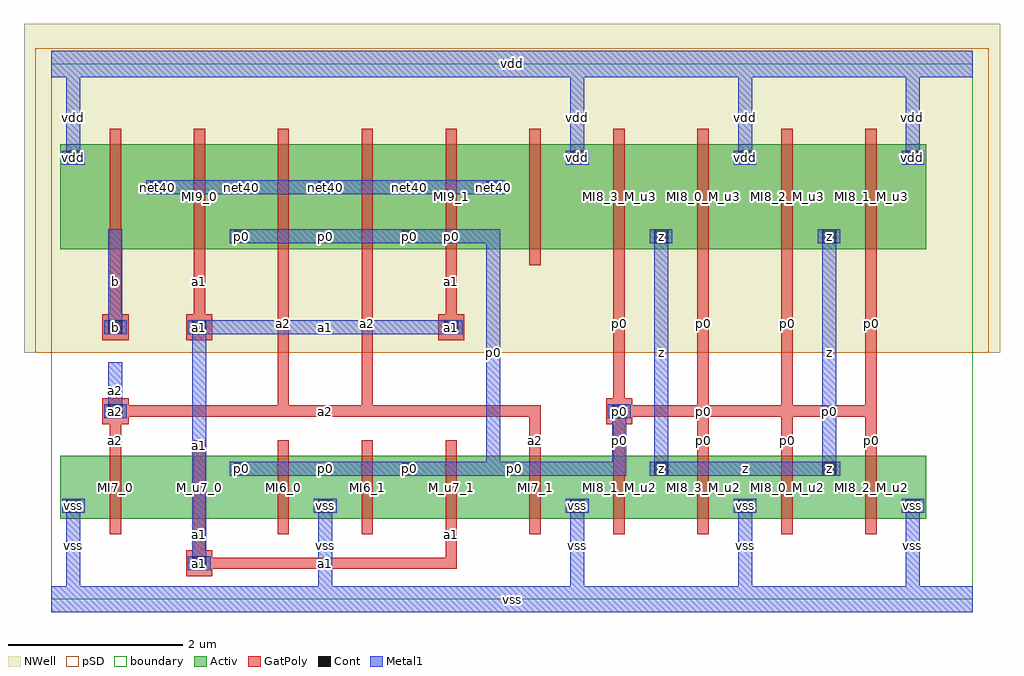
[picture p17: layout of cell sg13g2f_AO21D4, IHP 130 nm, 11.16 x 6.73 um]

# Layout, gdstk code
import gdstk
lib = gdstk.Library(unit=1e-6, precision=1e-09)
def R(c, l, rs):  # rectangles x0, y0, x1, y1
    for r in rs: c.add(gdstk.rectangle(r[:2], r[2:], *l))
def A(c, l, x, y, w, h, nx, ny, dx, dy):  # array of equal rectangles
    R(c, l, [(x+i*dx, y+j*dy, x+i*dx+w, y+j*dy+h) for i in range(nx) for j in range(ny)])
Activ = (1, 0)
GatPoly = (5, 0)
Cont = (6, 0)
Metal1 = (8, 0)
pSD = (14, 0)
NWell = (31, 0)
TEXT = (63, 0)
boundary = (189, 4)

sg13g2f_ao21d4 = lib.new_cell('sg13g2f_AO21D4')
A(sg13g2f_ao21d4, Activ, 0.105, 0.92, 1.26, 0.72, 10, 1, 0.96, 0)
A(sg13g2f_ao21d4, Activ, 0.105, 0.92, 0.3, 0.3, 3, 1, 2.88, 0)
A(sg13g2f_ao21d4, Activ, 0.105, 4, 1.26, 1.2, 10, 1, 0.96, 0)
A(sg13g2f_ao21d4, Activ, 1.065, 4.56, 0.3, 0.3, 3, 1, 1.92, 0)
A(sg13g2f_ao21d4, Activ, 5.865, 4.9, 0.3, 0.3, 3, 1, 1.92, 0)
R(sg13g2f_ao21d4, Activ, [(7.785,0.92,8.085,1.22), (9.705,0.92,10.005,1.22), (2.025,1.34,2.325,1.64), (3.945,1.34,4.245,1.64), (6.825,1.34,7.125,1.64), (8.745,1.34,9.045,1.64), (2.025,4,2.325,4.3), (3.945,4,4.245,4.3), (6.825,4,7.125,4.3), (8.745,4,9.045,4.3), (0.105,4.9,0.405,5.2)])
A(sg13g2f_ao21d4, GatPoly, 0.67, 0.74, 0.13, 1.08, 10, 1, 0.96, 0)
A(sg13g2f_ao21d4, GatPoly, 5.47, 1.425, 0.13, 0.79, 5, 1, 0.96, 0)
A(sg13g2f_ao21d4, GatPoly, 6.43, 2.085, 0.13, 2.13, 4, 1, 0.96, 0)
A(sg13g2f_ao21d4, GatPoly, 0.67, 3.82, 0.13, 1.56, 10, 1, 0.96, 0)
R(sg13g2f_ao21d4, GatPoly, [(1.545,0.26,1.845,0.56), (1.63,0.345,1.76,1.135), (1.63,0.345,4.64,0.475), (4.51,0.345,4.64,1.135), (0.67,1.425,0.8,2.215), (0.585,2,0.885,2.3), (6.345,2,6.645,2.3), (0.67,2.085,5.6,2.215), (2.59,2.085,2.72,4.215), (3.55,2.085,3.68,4.215), (6.43,2.085,8.48,2.215), (8.35,2.085,9.44,2.215), (0.585,2.96,0.885,3.26), (1.545,2.96,1.845,3.26), (4.425,2.96,4.725,3.26), (0.67,3.045,0.8,4.215), (1.63,3.045,1.76,4.215), (4.51,3.045,4.64,4.215)])
A(sg13g2f_ao21d4, Cont, 0.175, 0.99, 0.16, 0.16, 3, 1, 2.88, 0)
A(sg13g2f_ao21d4, Cont, 1.135, 4.63, 0.16, 0.16, 3, 1, 1.92, 0)
A(sg13g2f_ao21d4, Cont, 5.935, 4.97, 0.16, 0.16, 3, 1, 1.92, 0)
R(sg13g2f_ao21d4, Cont, [(1.615,0.33,1.775,0.49), (7.855,0.99,8.015,1.15), (9.775,0.99,9.935,1.15), (2.095,1.41,2.255,1.57), (4.015,1.41,4.175,1.57), (6.895,1.41,7.055,1.57), (8.815,1.41,8.975,1.57), (0.655,2.07,0.815,2.23), (6.415,2.07,6.575,2.23), (0.655,3.03,0.815,3.19), (1.615,3.03,1.775,3.19), (4.495,3.03,4.655,3.19), (2.095,4.07,2.255,4.23), (4.015,4.07,4.175,4.23), (6.895,4.07,7.055,4.23), (8.815,4.07,8.975,4.23), (0.175,4.97,0.335,5.13)])
A(sg13g2f_ao21d4, Metal1, 0.175, 0.07, 0.16, 1.08, 3, 1, 2.88, 0)
A(sg13g2f_ao21d4, Metal1, 0.125, 0.99, 0.26, 0.16, 3, 1, 2.88, 0)
A(sg13g2f_ao21d4, Metal1, 4.975, 1.41, 0.16, 2.82, 3, 1, 1.92, 0)
A(sg13g2f_ao21d4, Metal1, 1.085, 4.63, 0.26, 0.16, 3, 1, 1.92, 0)
A(sg13g2f_ao21d4, Metal1, 5.885, 4.97, 0.26, 0.16, 3, 1, 1.92, 0)
A(sg13g2f_ao21d4, Metal1, 5.935, 4.97, 0.16, 1.08, 3, 1, 1.92, 0)
R(sg13g2f_ao21d4, Metal1, [(0,-0.15,10.54,0.15), (7.855,0.07,8.015,1.15), (9.775,0.07,9.935,1.15), (1.565,0.33,1.825,0.49), (1.615,0.33,1.775,3.19), (7.805,0.99,8.065,1.15), (9.725,0.99,9.985,1.15), (2.045,1.41,2.305,1.57), (2.095,1.41,4.175,1.57), (3.965,1.41,4.225,1.57), (4.015,1.41,6.575,1.57), (6.415,1.41,6.575,2.23), (6.845,1.41,7.105,1.57), (6.895,1.41,8.975,1.57), (8.765,1.41,9.025,1.57), (0.605,2.07,0.865,2.23), (0.655,2.07,0.815,2.71), (6.365,2.07,6.625,2.23), (0.605,3.03,0.865,3.19), (0.655,3.03,0.815,4.23), (1.565,3.03,1.825,3.19), (1.615,3.03,4.655,3.19), (4.445,3.03,4.705,3.19), (2.045,4.07,2.305,4.23), (2.095,4.07,4.175,4.23), (3.965,4.07,4.225,4.23), (4.015,4.07,5.135,4.23), (6.845,4.07,7.105,4.23), (8.765,4.07,9.025,4.23), (1.135,4.63,3.215,4.79), (3.055,4.63,5.135,4.79), (0.125,4.97,0.385,5.13), (0.175,4.97,0.335,6.05), (0,5.97,10.54,6.27)])
R(sg13g2f_ao21d4, pSD, [(-0.18,2.82,10.72,5.94), (-0.18,5.94,10.72,6.3)])
R(sg13g2f_ao21d4, NWell, [(-0.31,2.82,10.85,6.58)])
R(sg13g2f_ao21d4, boundary, [(0,0,10.54,6.12)])
sg13g2f_ao21d4.add(gdstk.FlexPath([(0.105,0.41),(10.005,0.41)], 0, ends="flush", simple_path=True, layer=63, datatype=0))  # TEXT
sg13g2f_ao21d4.add(gdstk.FlexPath([(0.105,1.07),(10.005,1.07)], 0, ends="flush", simple_path=True, layer=63, datatype=0))  # TEXT
sg13g2f_ao21d4.add(gdstk.FlexPath([(0.105,1.49),(10.005,1.49)], 0, ends="flush", simple_path=True, layer=63, datatype=0))  # TEXT
sg13g2f_ao21d4.add(gdstk.FlexPath([(0.105,2.15),(10.005,2.15)], 0, ends="flush", simple_path=True, layer=63, datatype=0))  # TEXT
sg13g2f_ao21d4.add(gdstk.FlexPath([(0.105,2.63),(10.005,2.63)], 0, ends="flush", simple_path=True, layer=63, datatype=0))  # TEXT
sg13g2f_ao21d4.add(gdstk.FlexPath([(0.105,3.11),(10.005,3.11)], 0, ends="flush", simple_path=True, layer=63, datatype=0))  # TEXT
sg13g2f_ao21d4.add(gdstk.FlexPath([(0.105,4.15),(10.005,4.15)], 0, ends="flush", simple_path=True, layer=63, datatype=0))  # TEXT
sg13g2f_ao21d4.add(gdstk.FlexPath([(0.105,4.71),(10.005,4.71)], 0, ends="flush", simple_path=True, layer=63, datatype=0))  # TEXT
sg13g2f_ao21d4.add(gdstk.FlexPath([(0.105,5.05),(10.005,5.05)], 0, ends="flush", simple_path=True, layer=63, datatype=0))  # TEXT
sg13g2f_ao21d4.add(gdstk.FlexPath([(0.105,5.71),(10.005,5.71)], 0, ends="flush", simple_path=True, layer=63, datatype=0))  # TEXT
sg13g2f_ao21d4.add(gdstk.FlexPath([(0.255,0.07),(0.255,6.05)], 0, ends="flush", simple_path=True, layer=63, datatype=0))  # TEXT
sg13g2f_ao21d4.add(gdstk.FlexPath([(0.735,0.07),(0.735,6.05)], 0, ends="flush", simple_path=True, layer=63, datatype=0))  # TEXT
sg13g2f_ao21d4.add(gdstk.FlexPath([(1.215,0.07),(1.215,6.05)], 0, ends="flush", simple_path=True, layer=63, datatype=0))  # TEXT
sg13g2f_ao21d4.add(gdstk.FlexPath([(1.695,0.07),(1.695,6.05)], 0, ends="flush", simple_path=True, layer=63, datatype=0))  # TEXT
sg13g2f_ao21d4.add(gdstk.FlexPath([(2.175,0.07),(2.175,6.05)], 0, ends="flush", simple_path=True, layer=63, datatype=0))  # TEXT
sg13g2f_ao21d4.add(gdstk.FlexPath([(2.655,0.07),(2.655,6.05)], 0, ends="flush", simple_path=True, layer=63, datatype=0))  # TEXT
sg13g2f_ao21d4.add(gdstk.FlexPath([(3.135,0.07),(3.135,6.05)], 0, ends="flush", simple_path=True, layer=63, datatype=0))  # TEXT
sg13g2f_ao21d4.add(gdstk.FlexPath([(3.615,0.07),(3.615,6.05)], 0, ends="flush", simple_path=True, layer=63, datatype=0))  # TEXT
sg13g2f_ao21d4.add(gdstk.FlexPath([(4.095,0.07),(4.095,6.05)], 0, ends="flush", simple_path=True, layer=63, datatype=0))  # TEXT
sg13g2f_ao21d4.add(gdstk.FlexPath([(4.575,0.07),(4.575,6.05)], 0, ends="flush", simple_path=True, layer=63, datatype=0))  # TEXT
sg13g2f_ao21d4.add(gdstk.FlexPath([(5.055,0.07),(5.055,6.05)], 0, ends="flush", simple_path=True, layer=63, datatype=0))  # TEXT
sg13g2f_ao21d4.add(gdstk.FlexPath([(5.535,0.07),(5.535,6.05)], 0, ends="flush", simple_path=True, layer=63, datatype=0))  # TEXT
sg13g2f_ao21d4.add(gdstk.FlexPath([(6.015,0.07),(6.015,6.05)], 0, ends="flush", simple_path=True, layer=63, datatype=0))  # TEXT
sg13g2f_ao21d4.add(gdstk.FlexPath([(6.495,0.07),(6.495,6.05)], 0, ends="flush", simple_path=True, layer=63, datatype=0))  # TEXT
sg13g2f_ao21d4.add(gdstk.FlexPath([(6.975,0.07),(6.975,6.05)], 0, ends="flush", simple_path=True, layer=63, datatype=0))  # TEXT
sg13g2f_ao21d4.add(gdstk.FlexPath([(7.455,0.07),(7.455,6.05)], 0, ends="flush", simple_path=True, layer=63, datatype=0))  # TEXT
sg13g2f_ao21d4.add(gdstk.FlexPath([(7.935,0.07),(7.935,6.05)], 0, ends="flush", simple_path=True, layer=63, datatype=0))  # TEXT
sg13g2f_ao21d4.add(gdstk.FlexPath([(8.415,0.07),(8.415,6.05)], 0, ends="flush", simple_path=True, layer=63, datatype=0))  # TEXT
sg13g2f_ao21d4.add(gdstk.FlexPath([(8.895,0.07),(8.895,6.05)], 0, ends="flush", simple_path=True, layer=63, datatype=0))  # TEXT
sg13g2f_ao21d4.add(gdstk.FlexPath([(9.375,0.07),(9.375,6.05)], 0, ends="flush", simple_path=True, layer=63, datatype=0))  # TEXT
sg13g2f_ao21d4.add(gdstk.FlexPath([(9.855,0.07),(9.855,6.05)], 0, ends="flush", simple_path=True, layer=63, datatype=0))  # TEXT
sg13g2f_ao21d4.add(gdstk.Label('a2', (0.735,2.15), layer=6, texttype=0))
sg13g2f_ao21d4.add(gdstk.Label('p0', (2.175,1.49), layer=6, texttype=0))
sg13g2f_ao21d4.add(gdstk.Label('p0', (4.095,1.49), layer=6, texttype=0))
sg13g2f_ao21d4.add(gdstk.Label('p0', (4.095,4.15), layer=6, texttype=0))
sg13g2f_ao21d4.add(gdstk.Label('p0', (2.175,4.15), layer=6, texttype=0))
sg13g2f_ao21d4.add(gdstk.Label('p0', (6.495,2.15), layer=6, texttype=0))
sg13g2f_ao21d4.add(gdstk.Label('a1', (1.695,0.41), layer=6, texttype=0))
sg13g2f_ao21d4.add(gdstk.Label('a1', (1.695,3.11), layer=6, texttype=0))
sg13g2f_ao21d4.add(gdstk.Label('a1', (4.575,3.11), layer=6, texttype=0))
sg13g2f_ao21d4.add(gdstk.Label('b', (0.735,3.11), layer=6, texttype=0))
sg13g2f_ao21d4.add(gdstk.Label('z', (8.895,1.49), layer=6, texttype=0))
sg13g2f_ao21d4.add(gdstk.Label('z', (6.975,1.49), layer=6, texttype=0))
sg13g2f_ao21d4.add(gdstk.Label('z', (6.975,4.15), layer=6, texttype=0))
sg13g2f_ao21d4.add(gdstk.Label('z', (8.895,4.15), layer=6, texttype=0))
sg13g2f_ao21d4.add(gdstk.Label('net40', (3.135,4.71), layer=6, texttype=0))
sg13g2f_ao21d4.add(gdstk.Label('net40', (1.215,4.71), layer=6, texttype=0))
sg13g2f_ao21d4.add(gdstk.Label('net40', (5.055,4.71), layer=6, texttype=0))
sg13g2f_ao21d4.add(gdstk.Label('vss', (0.255,1.07), layer=6, texttype=0))
sg13g2f_ao21d4.add(gdstk.Label('vss', (6.015,1.07), layer=6, texttype=0))
sg13g2f_ao21d4.add(gdstk.Label('vss', (3.135,1.07), layer=6, texttype=0))
sg13g2f_ao21d4.add(gdstk.Label('vss', (7.935,1.07), layer=6, texttype=0))
sg13g2f_ao21d4.add(gdstk.Label('vss', (9.855,1.07), layer=6, texttype=0))
sg13g2f_ao21d4.add(gdstk.Label('vdd', (7.935,5.05), layer=6, texttype=0))
sg13g2f_ao21d4.add(gdstk.Label('vdd', (9.855,5.05), layer=6, texttype=0))
sg13g2f_ao21d4.add(gdstk.Label('vdd', (6.015,5.05), layer=6, texttype=0))
sg13g2f_ao21d4.add(gdstk.Label('vdd', (0.255,5.05), layer=6, texttype=0))
sg13g2f_ao21d4.add(gdstk.Label('p0', (2.175,1.49), layer=8, texttype=0))
sg13g2f_ao21d4.add(gdstk.Label('p0', (4.095,1.49), layer=8, texttype=0))
sg13g2f_ao21d4.add(gdstk.Label('p0', (4.095,4.15), layer=8, texttype=0))
sg13g2f_ao21d4.add(gdstk.Label('p0', (2.175,4.15), layer=8, texttype=0))
sg13g2f_ao21d4.add(gdstk.Label('p0', (3.135,1.49), layer=8, texttype=0))
sg13g2f_ao21d4.add(gdstk.Label('p0', (5.295,1.49), layer=8, texttype=0))
sg13g2f_ao21d4.add(gdstk.Label('p0', (6.495,1.82), layer=8, texttype=0))
sg13g2f_ao21d4.add(gdstk.Label('p0', (6.495,2.15), layer=8, texttype=0))
sg13g2f_ao21d4.add(gdstk.Label('p0', (5.055,2.82), layer=8, texttype=0))
sg13g2f_ao21d4.add(gdstk.Label('p0', (4.575,4.15), layer=8, texttype=0))
sg13g2f_ao21d4.add(gdstk.Label('p0', (3.135,4.15), layer=8, texttype=0))
sg13g2f_ao21d4.add(gdstk.Label('net40', (3.135,4.71), layer=8, texttype=0))
sg13g2f_ao21d4.add(gdstk.Label('net40', (1.215,4.71), layer=8, texttype=0))
sg13g2f_ao21d4.add(gdstk.Label('net40', (5.055,4.71), layer=8, texttype=0))
sg13g2f_ao21d4.add(gdstk.Label('net40', (2.175,4.71), layer=8, texttype=0))
sg13g2f_ao21d4.add(gdstk.Label('net40', (4.095,4.71), layer=8, texttype=0))
sg13g2f_ao21d4.add(gdstk.Label('vss', (0.255,1.07), layer=8, texttype=0))
sg13g2f_ao21d4.add(gdstk.Label('vss', (0.255,0.61), layer=8, texttype=0))
sg13g2f_ao21d4.add(gdstk.Label('vss', (6.015,1.07), layer=8, texttype=0))
sg13g2f_ao21d4.add(gdstk.Label('vss', (6.015,0.61), layer=8, texttype=0))
sg13g2f_ao21d4.add(gdstk.Label('vss', (3.135,1.07), layer=8, texttype=0))
sg13g2f_ao21d4.add(gdstk.Label('vss', (3.135,0.61), layer=8, texttype=0))
sg13g2f_ao21d4.add(gdstk.Label('vss', (7.935,1.07), layer=8, texttype=0))
sg13g2f_ao21d4.add(gdstk.Label('vss', (7.935,0.61), layer=8, texttype=0))
sg13g2f_ao21d4.add(gdstk.Label('vss', (9.855,1.07), layer=8, texttype=0))
sg13g2f_ao21d4.add(gdstk.Label('vss', (9.855,0.61), layer=8, texttype=0))
sg13g2f_ao21d4.add(gdstk.Label('vdd', (7.935,5.05), layer=8, texttype=0))
sg13g2f_ao21d4.add(gdstk.Label('vdd', (7.935,5.51), layer=8, texttype=0))
sg13g2f_ao21d4.add(gdstk.Label('vdd', (9.855,5.05), layer=8, texttype=0))
sg13g2f_ao21d4.add(gdstk.Label('vdd', (9.855,5.51), layer=8, texttype=0))
sg13g2f_ao21d4.add(gdstk.Label('vdd', (6.015,5.05), layer=8, texttype=0))
sg13g2f_ao21d4.add(gdstk.Label('vdd', (6.015,5.51), layer=8, texttype=0))
sg13g2f_ao21d4.add(gdstk.Label('vdd', (0.255,5.05), layer=8, texttype=0))
sg13g2f_ao21d4.add(gdstk.Label('vdd', (0.255,5.51), layer=8, texttype=0))
sg13g2f_ao21d4.add(gdstk.Label('a2', (0.735,2.15), layer=8, texttype=2))
sg13g2f_ao21d4.add(gdstk.Label('a2', (0.735,2.39), layer=8, texttype=2))
sg13g2f_ao21d4.add(gdstk.Label('a1', (1.695,0.41), layer=8, texttype=2))
sg13g2f_ao21d4.add(gdstk.Label('a1', (1.695,1.76), layer=8, texttype=2))
sg13g2f_ao21d4.add(gdstk.Label('a1', (1.695,3.11), layer=8, texttype=2))
sg13g2f_ao21d4.add(gdstk.Label('a1', (3.135,3.11), layer=8, texttype=2))
sg13g2f_ao21d4.add(gdstk.Label('a1', (4.575,3.11), layer=8, texttype=2))
sg13g2f_ao21d4.add(gdstk.Label('b', (0.735,3.11), layer=8, texttype=2))
sg13g2f_ao21d4.add(gdstk.Label('b', (0.735,3.63), layer=8, texttype=2))
sg13g2f_ao21d4.add(gdstk.Label('z', (8.895,1.49), layer=8, texttype=2))
sg13g2f_ao21d4.add(gdstk.Label('z', (6.975,1.49), layer=8, texttype=2))
sg13g2f_ao21d4.add(gdstk.Label('z', (6.975,4.15), layer=8, texttype=2))
sg13g2f_ao21d4.add(gdstk.Label('z', (8.895,4.15), layer=8, texttype=2))
sg13g2f_ao21d4.add(gdstk.Label('z', (7.935,1.49), layer=8, texttype=2))
sg13g2f_ao21d4.add(gdstk.Label('z', (6.975,2.82), layer=8, texttype=2))
sg13g2f_ao21d4.add(gdstk.Label('z', (8.895,2.82), layer=8, texttype=2))
sg13g2f_ao21d4.add(gdstk.Label('vss', (5.27,0), layer=8, texttype=2))
sg13g2f_ao21d4.add(gdstk.Label('vdd', (5.27,6.12), layer=8, texttype=2))
sg13g2f_ao21d4.add(gdstk.Label('a2', (0.735,2.15), layer=8, texttype=2))
sg13g2f_ao21d4.add(gdstk.Label('a2', (0.735,2.39), layer=8, texttype=2))
sg13g2f_ao21d4.add(gdstk.Label('a1', (1.695,0.41), layer=8, texttype=2))
sg13g2f_ao21d4.add(gdstk.Label('a1', (1.695,1.76), layer=8, texttype=2))
sg13g2f_ao21d4.add(gdstk.Label('a1', (1.695,3.11), layer=8, texttype=2))
sg13g2f_ao21d4.add(gdstk.Label('a1', (3.135,3.11), layer=8, texttype=2))
sg13g2f_ao21d4.add(gdstk.Label('a1', (4.575,3.11), layer=8, texttype=2))
sg13g2f_ao21d4.add(gdstk.Label('b', (0.735,3.11), layer=8, texttype=2))
sg13g2f_ao21d4.add(gdstk.Label('b', (0.735,3.63), layer=8, texttype=2))
sg13g2f_ao21d4.add(gdstk.Label('z', (8.895,1.49), layer=8, texttype=2))
sg13g2f_ao21d4.add(gdstk.Label('z', (6.975,1.49), layer=8, texttype=2))
sg13g2f_ao21d4.add(gdstk.Label('z', (6.975,4.15), layer=8, texttype=2))
sg13g2f_ao21d4.add(gdstk.Label('z', (8.895,4.15), layer=8, texttype=2))
sg13g2f_ao21d4.add(gdstk.Label('z', (7.935,1.49), layer=8, texttype=2))
sg13g2f_ao21d4.add(gdstk.Label('z', (6.975,2.82), layer=8, texttype=2))
sg13g2f_ao21d4.add(gdstk.Label('z', (8.895,2.82), layer=8, texttype=2))
sg13g2f_ao21d4.add(gdstk.Label('vss', (5.27,0), layer=8, texttype=2))
sg13g2f_ao21d4.add(gdstk.Label('vdd', (5.27,6.12), layer=8, texttype=2))
sg13g2f_ao21d4.add(gdstk.Label('MI7_0', (0.735,1.28), layer=1, texttype=0))
sg13g2f_ao21d4.add(gdstk.Label('MI7_1', (5.535,1.28), layer=1, texttype=0))
sg13g2f_ao21d4.add(gdstk.Label('M_u7_0', (1.695,1.28), layer=1, texttype=0))
sg13g2f_ao21d4.add(gdstk.Label('M_u7_1', (4.575,1.28), layer=1, texttype=0))
sg13g2f_ao21d4.add(gdstk.Label('MI6_0', (2.655,1.28), layer=1, texttype=0))
sg13g2f_ao21d4.add(gdstk.Label('MI6_1', (3.615,1.28), layer=1, texttype=0))
sg13g2f_ao21d4.add(gdstk.Label('MI8_0_M_u2', (8.415,1.28), layer=1, texttype=0))
sg13g2f_ao21d4.add(gdstk.Label('MI8_1_M_u2', (6.495,1.28), layer=1, texttype=0))
sg13g2f_ao21d4.add(gdstk.Label('MI8_2_M_u2', (9.375,1.28), layer=1, texttype=0))
sg13g2f_ao21d4.add(gdstk.Label('MI8_3_M_u2', (7.455,1.28), layer=1, texttype=0))
sg13g2f_ao21d4.add(gdstk.Label('MI10_0', (3.615,4.6), layer=1, texttype=0))
sg13g2f_ao21d4.add(gdstk.Label('MI10_1', (2.655,4.6), layer=1, texttype=0))
sg13g2f_ao21d4.add(gdstk.Label('MI8_0_M_u3', (7.455,4.6), layer=1, texttype=0))
sg13g2f_ao21d4.add(gdstk.Label('MI8_1_M_u3', (9.375,4.6), layer=1, texttype=0))
sg13g2f_ao21d4.add(gdstk.Label('MI8_2_M_u3', (8.415,4.6), layer=1, texttype=0))
sg13g2f_ao21d4.add(gdstk.Label('MI8_3_M_u3', (6.495,4.6), layer=1, texttype=0))
sg13g2f_ao21d4.add(gdstk.Label('MI9_0', (1.695,4.6), layer=1, texttype=0))
sg13g2f_ao21d4.add(gdstk.Label('MI9_1', (4.575,4.6), layer=1, texttype=0))
sg13g2f_ao21d4.add(gdstk.Label('M_u2_0', (5.535,4.6), layer=1, texttype=0))
sg13g2f_ao21d4.add(gdstk.Label('M_u2_1', (0.735,4.6), layer=1, texttype=0))
sg13g2f_ao21d4.add(gdstk.Label('p0', (2.175,1.49), layer=1, texttype=0))
sg13g2f_ao21d4.add(gdstk.Label('p0', (4.095,1.49), layer=1, texttype=0))
sg13g2f_ao21d4.add(gdstk.Label('p0', (4.095,4.15), layer=1, texttype=0))
sg13g2f_ao21d4.add(gdstk.Label('p0', (2.175,4.15), layer=1, texttype=0))
sg13g2f_ao21d4.add(gdstk.Label('z', (8.895,1.49), layer=1, texttype=0))
sg13g2f_ao21d4.add(gdstk.Label('z', (6.975,1.49), layer=1, texttype=0))
sg13g2f_ao21d4.add(gdstk.Label('z', (6.975,4.15), layer=1, texttype=0))
sg13g2f_ao21d4.add(gdstk.Label('z', (8.895,4.15), layer=1, texttype=0))
sg13g2f_ao21d4.add(gdstk.Label('net40', (3.135,4.71), layer=1, texttype=0))
sg13g2f_ao21d4.add(gdstk.Label('net40', (1.215,4.71), layer=1, texttype=0))
sg13g2f_ao21d4.add(gdstk.Label('net40', (5.055,4.71), layer=1, texttype=0))
sg13g2f_ao21d4.add(gdstk.Label('vss', (0.255,1.07), layer=1, texttype=0))
sg13g2f_ao21d4.add(gdstk.Label('vss', (6.015,1.07), layer=1, texttype=0))
sg13g2f_ao21d4.add(gdstk.Label('vss', (3.135,1.07), layer=1, texttype=0))
sg13g2f_ao21d4.add(gdstk.Label('vss', (7.935,1.07), layer=1, texttype=0))
sg13g2f_ao21d4.add(gdstk.Label('vss', (9.855,1.07), layer=1, texttype=0))
sg13g2f_ao21d4.add(gdstk.Label('vdd', (7.935,5.05), layer=1, texttype=0))
sg13g2f_ao21d4.add(gdstk.Label('vdd', (9.855,5.05), layer=1, texttype=0))
sg13g2f_ao21d4.add(gdstk.Label('vdd', (6.015,5.05), layer=1, texttype=0))
sg13g2f_ao21d4.add(gdstk.Label('vdd', (0.255,5.05), layer=1, texttype=0))
sg13g2f_ao21d4.add(gdstk.Label('a2', (0.735,2.15), layer=8, texttype=25))
sg13g2f_ao21d4.add(gdstk.Label('a2', (0.735,2.39), layer=8, texttype=25))
sg13g2f_ao21d4.add(gdstk.Label('a1', (1.695,0.41), layer=8, texttype=25))
sg13g2f_ao21d4.add(gdstk.Label('a1', (1.695,1.76), layer=8, texttype=25))
sg13g2f_ao21d4.add(gdstk.Label('a1', (1.695,3.11), layer=8, texttype=25))
sg13g2f_ao21d4.add(gdstk.Label('a1', (3.135,3.11), layer=8, texttype=25))
sg13g2f_ao21d4.add(gdstk.Label('a1', (4.575,3.11), layer=8, texttype=25))
sg13g2f_ao21d4.add(gdstk.Label('b', (0.735,3.11), layer=8, texttype=25))
sg13g2f_ao21d4.add(gdstk.Label('b', (0.735,3.63), layer=8, texttype=25))
sg13g2f_ao21d4.add(gdstk.Label('z', (8.895,1.49), layer=8, texttype=25))
sg13g2f_ao21d4.add(gdstk.Label('z', (6.975,1.49), layer=8, texttype=25))
sg13g2f_ao21d4.add(gdstk.Label('z', (6.975,4.15), layer=8, texttype=25))
sg13g2f_ao21d4.add(gdstk.Label('z', (8.895,4.15), layer=8, texttype=25))
sg13g2f_ao21d4.add(gdstk.Label('z', (7.935,1.49), layer=8, texttype=25))
sg13g2f_ao21d4.add(gdstk.Label('z', (6.975,2.82), layer=8, texttype=25))
sg13g2f_ao21d4.add(gdstk.Label('z', (8.895,2.82), layer=8, texttype=25))
sg13g2f_ao21d4.add(gdstk.Label('vss', (5.27,0), layer=8, texttype=25))
sg13g2f_ao21d4.add(gdstk.Label('vdd', (5.27,6.12), layer=8, texttype=25))
sg13g2f_ao21d4.add(gdstk.Label('a2', (0.735,1.82), layer=5, texttype=0))
sg13g2f_ao21d4.add(gdstk.Label('a2', (3.135,2.15), layer=5, texttype=0))
sg13g2f_ao21d4.add(gdstk.Label('a2', (5.535,1.82), layer=5, texttype=0))
sg13g2f_ao21d4.add(gdstk.Label('a2', (3.615,3.15), layer=5, texttype=0))
sg13g2f_ao21d4.add(gdstk.Label('a2', (2.655,3.15), layer=5, texttype=0))
sg13g2f_ao21d4.add(gdstk.Label('a2', (0.735,2.15), layer=5, texttype=0))
sg13g2f_ao21d4.add(gdstk.Label('p0', (6.495,2.15), layer=5, texttype=0))
sg13g2f_ao21d4.add(gdstk.Label('p0', (7.455,2.15), layer=5, texttype=0))
sg13g2f_ao21d4.add(gdstk.Label('p0', (8.415,1.82), layer=5, texttype=0))
sg13g2f_ao21d4.add(gdstk.Label('p0', (6.495,1.82), layer=5, texttype=0))
sg13g2f_ao21d4.add(gdstk.Label('p0', (8.895,2.15), layer=5, texttype=0))
sg13g2f_ao21d4.add(gdstk.Label('p0', (9.375,1.82), layer=5, texttype=0))
sg13g2f_ao21d4.add(gdstk.Label('p0', (7.455,1.82), layer=5, texttype=0))
sg13g2f_ao21d4.add(gdstk.Label('p0', (7.455,3.15), layer=5, texttype=0))
sg13g2f_ao21d4.add(gdstk.Label('p0', (9.375,3.15), layer=5, texttype=0))
sg13g2f_ao21d4.add(gdstk.Label('p0', (8.415,3.15), layer=5, texttype=0))
sg13g2f_ao21d4.add(gdstk.Label('p0', (6.495,3.15), layer=5, texttype=0))
sg13g2f_ao21d4.add(gdstk.Label('a1', (1.695,0.74), layer=5, texttype=0))
sg13g2f_ao21d4.add(gdstk.Label('a1', (3.135,0.41), layer=5, texttype=0))
sg13g2f_ao21d4.add(gdstk.Label('a1', (4.575,0.74), layer=5, texttype=0))
sg13g2f_ao21d4.add(gdstk.Label('a1', (1.695,0.41), layer=5, texttype=0))
sg13g2f_ao21d4.add(gdstk.Label('a1', (1.695,3.11), layer=5, texttype=0))
sg13g2f_ao21d4.add(gdstk.Label('a1', (1.695,3.63), layer=5, texttype=0))
sg13g2f_ao21d4.add(gdstk.Label('a1', (4.575,3.11), layer=5, texttype=0))
sg13g2f_ao21d4.add(gdstk.Label('a1', (4.575,3.63), layer=5, texttype=0))
sg13g2f_ao21d4.add(gdstk.Label('b', (0.735,3.63), layer=5, texttype=0))
sg13g2f_ao21d4.add(gdstk.Label('b', (0.735,3.11), layer=5, texttype=0))

lib.write_gds('sg13g2f_AO21D4.gds')
